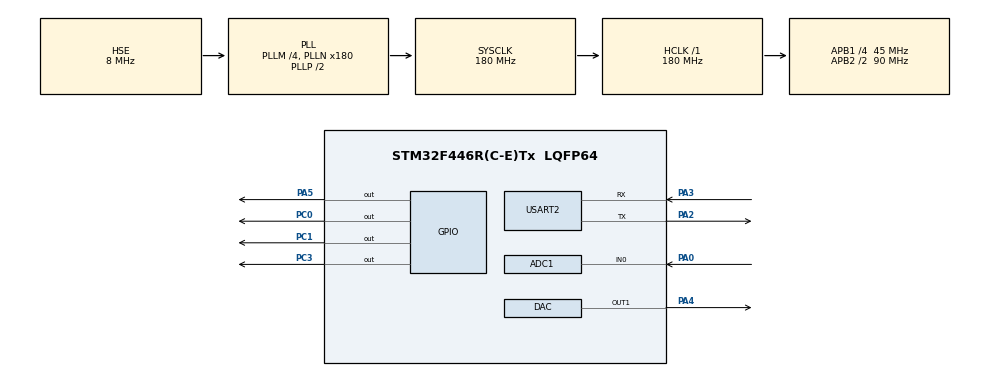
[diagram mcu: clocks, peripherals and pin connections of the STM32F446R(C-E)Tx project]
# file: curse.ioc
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ADC1.Channel-0\#ChannelRegularConversion=ADC_CHANNEL_0
ADC1.DMAContinuousRequests=ENABLE
ADC1.NbrOfConversionFlag=1
ADC1.Rank-0\#ChannelRegularConversion=1
ADC1.SamplingTime-0\#ChannelRegularConversion=ADC_SAMPLETIME_3CYCLES
ADC1.master=1
DAC.DAC_Trigger=DAC_TRIGGER_T2_TRGO
Dma.ADC1.1.Direction=DMA_PERIPH_TO_MEMORY
Dma.ADC1.1.FIFOMode=DMA_FIFOMODE_DISABLE
Dma.ADC1.1.Instance=DMA2_Stream0
Dma.ADC1.1.MemDataAlignment=DMA_MDATAALIGN_HALFWORD
Dma.ADC1.1.MemInc=DMA_MINC_ENABLE
Dma.ADC1.1.Mode=DMA_CIRCULAR
Dma.ADC1.1.PeriphDataAlignment=DMA_PDATAALIGN_HALFWORD
Dma.ADC1.1.PeriphInc=DMA_PINC_DISABLE
Dma.ADC1.1.Priority=DMA_PRIORITY_HIGH
Dma.DAC1.0.Direction=DMA_MEMORY_TO_PERIPH
Dma.DAC1.0.FIFOMode=DMA_FIFOMODE_DISABLE
Dma.DAC1.0.Instance=DMA1_Stream5
Dma.DAC1.0.MemDataAlignment=DMA_MDATAALIGN_WORD
Dma.DAC1.0.MemInc=DMA_MINC_ENABLE
Dma.DAC1.0.Mode=DMA_CIRCULAR
Dma.DAC1.0.PeriphDataAlignment=DMA_PDATAALIGN_WORD
Dma.DAC1.0.PeriphInc=DMA_PINC_DISABLE
Dma.DAC1.0.Priority=DMA_PRIORITY_HIGH
Dma.Request0=DAC1
Dma.Request1=ADC1
Dma.Request2=USART2_TX
Dma.USART2_TX.2.Direction=DMA_MEMORY_TO_PERIPH
Dma.USART2_TX.2.FIFOMode=DMA_FIFOMODE_DISABLE
Dma.USART2_TX.2.Instance=DMA1_Stream6
Dma.USART2_TX.2.MemDataAlignment=DMA_MDATAALIGN_BYTE
Dma.USART2_TX.2.MemInc=DMA_MINC_ENABLE
Dma.USART2_TX.2.Mode=DMA_NORMAL
Dma.USART2_TX.2.PeriphDataAlignment=DMA_PDATAALIGN_BYTE
Dma.USART2_TX.2.PeriphInc=DMA_PINC_DISABLE
Dma.USART2_TX.2.Priority=DMA_PRIORITY_LOW
Mcu.Family=STM32F4
Mcu.Name=STM32F446R(C-E)Tx
Mcu.Package=LQFP64
NVIC.ADC_IRQn=true\:1\:0\:true\:false\:true\:true\:true\:true
NVIC.DMA1_Stream5_IRQn=true\:0\:0\:false\:false\:true\:false\:true\:true
NVIC.DMA1_Stream6_IRQn=true\:0\:0\:false\:false\:true\:false\:true\:true
NVIC.DMA2_Stream0_IRQn=true\:0\:0\:false\:false\:true\:false\:true\:true
NVIC.PriorityGroup=NVIC_PRIORITYGROUP_4
NVIC.USART2_IRQn=true\:3\:0\:true\:false\:true\:true\:true\:true
PA0-WKUP.Signal=ADCx_IN0
PA2.Mode=Asynchronous
PA2.Signal=USART2_TX
PA3.Mode=Asynchronous
PA3.Signal=USART2_RX
PA4.Signal=COMP_DAC1_group
PA5.GPIO_Speed=GPIO_SPEED_FREQ_HIGH
PA5.PinState=GPIO_PIN_SET
PA5.Signal=GPIO_Output
PC0.GPIO_Speed=GPIO_SPEED_FREQ_VERY_HIGH
PC0.Signal=GPIO_Output
PC1.GPIO_Speed=GPIO_SPEED_FREQ_VERY_HIGH
PC1.Signal=GPIO_Output
PC3.GPIO_Speed=GPIO_SPEED_FREQ_VERY_HIGH
PC3.Signal=GPIO_Output
PH0-OSC_IN.Mode=HSE-External-Oscillator
PH0-OSC_IN.Signal=RCC_OSC_IN
PH1-OSC_OUT.Mode=HSE-External-Oscillator
PH1-OSC_OUT.Signal=RCC_OSC_OUT
ProjectManager.HeapSize=0x200
ProjectManager.StackSize=0x400
ProjectManager.TargetToolchain=STM32CubeIDE
RCC.AHBFreq_Value=180000000
RCC.APB1CLKDivider=RCC_HCLK_DIV4
RCC.APB1Freq_Value=45000000
RCC.APB1TimFreq_Value=90000000
RCC.APB2CLKDivider=RCC_HCLK_DIV2
RCC.APB2Freq_Value=90000000
RCC.APB2TimFreq_Value=180000000
RCC.CortexFreq_Value=180000000
RCC.HCLKFreq_Value=180000000
RCC.HSE_VALUE=8000000
RCC.PLLM=4
RCC.PLLN=180
RCC.PLLSourceVirtual=RCC_PLLSOURCE_HSE
RCC.SYSCLKFreq_VALUE=180000000
RCC.SYSCLKSource=RCC_SYSCLKSOURCE_PLLCLK
RCC.USBFreq_Value=180000000
RCC.VCOOutputFreq_Value=360000000
SH.ADCx_IN0.0=ADC1_IN0,IN0
SH.COMP_DAC1_group.0=DAC_OUT1,DAC_OUT1
TIM2.Period=561
TIM2.TIM_MasterOutputTrigger=TIM_TRGO_UPDATE
TIM3.Period=561
TIM3.TIM_MasterOutputTrigger=TIM_TRGO_UPDATE
USART2.VirtualMode=VM_ASYNC
VP_TIM2_VS_ClockSourceINT.Mode=Internal
VP_TIM3_VS_ClockSourceINT.Mode=Internal
board=custom

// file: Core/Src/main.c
/* USER CODE BEGIN Header */
/**
  ******************************************************************************
  * @file           : main.c
  * @brief          : Main program body
  ******************************************************************************
  * @attention
  *
  * Copyright (c) 2025 STMicroelectronics.
  * All rights reserved.
  *
  * This software is licensed under terms that can be found in the LICENSE file
  * in the root directory of this software component.
  * If no LICENSE file comes with this software, it is provided AS-IS.
  *
  ******************************************************************************
  */
/* USER CODE END Header */
#include "main.h"
#include "stm32f4xx_hal.h"

ADC_HandleTypeDef hadc1;
DMA_HandleTypeDef hdma_adc1;

DAC_HandleTypeDef hdac;
DMA_HandleTypeDef hdma_dac1;

TIM_HandleTypeDef htim2;
TIM_HandleTypeDef htim3;

UART_HandleTypeDef huart2;
DMA_HandleTypeDef hdma_usart2_tx;

/* USER CODE BEGIN PV */
#define MasSize 416
#define ADCIn MasSize + 200

const uint32_t Bark[MasSize] = {
    1736, 2075, 2400, 2700, 2964, 3179, 3340, 3439, 3472, 3439, 3340, 3179, 2964, 2700, 2400, 2075,
    1736, 1397, 1072, 772, 508, 293, 132, 33, 0, 33, 132, 293, 508, 772, 1072, 1397,
    1736, 2075, 2400, 2700, 2964, 3179, 3340, 3439, 3472, 3439, 3340, 3179, 2964, 2700, 2400, 2075,
    1736, 1397, 1072, 772, 508, 293, 132, 33, 0, 33, 132, 293, 508, 772, 1072, 1397,
    1736, 2075, 2400, 2700, 2964, 3179, 3340, 3439, 3472, 3439, 3340, 3179, 2964, 2700, 2400, 2075,
    1736, 1397, 1072, 772, 508, 293, 132, 33, 0, 33, 132, 293, 508, 772, 1072, 1397,
    1736, 2075, 2400, 2700, 2964, 3179, 3340, 3439, 3472, 3439, 3340, 3179, 2964, 2700, 2400, 2075,
    1736, 1397, 1072, 772, 508, 293, 132, 33, 0, 33, 132, 293, 508, 772, 1072, 1397,
    1736, 1397, 1072, 772, 508, 293, 132, 33, 0, 33, 132, 293, 508, 772, 1072, 1397,
    1736, 2075, 2400, 2700, 2964, 3179, 3340, 3439, 3472, 3439, 3340, 3179, 2964, 2700, 2400, 2075,
    1736, 1397, 1072, 772, 508, 293, 132, 33, 0, 33, 132, 293, 508, 772, 1072, 1397,
    1736, 2075, 2400, 2700, 2964, 3179, 3340, 3439, 3472, 3439, 3340, 3179, 2964, 2700, 2400, 2075,
    1736, 2075, 2400, 2700, 2964, 3179, 3340, 3439, 3472, 3439, 3340, 3179, 2964, 2700, 2400, 2075,
    1736, 1397, 1072, 772, 508, 293, 132, 33, 0, 33, 132, 293, 508, 772, 1072, 1397,
    1736, 2075, 2400, 2700, 2964, 3179, 3340, 3439, 3472, 3439, 3340, 3179, 2964, 2700, 2400, 2075,
    1736, 1397, 1072, 772, 508, 293, 132, 33, 0, 33, 132, 293, 508, 772, 1072, 1397,
    1736, 2075, 2400, 2700, 2964, 3179, 3340, 3439, 3472, 3439, 3340, 3179, 2964, 2700, 2400, 2075,
    1736, 1397, 1072, 772, 508, 293, 132, 33, 0, 33, 132, 293, 508, 772, 1072, 1397,
    1736, 2075, 2400, 2700, 2964, 3179, 3340, 3439, 3472, 3439, 3340, 3179, 2964, 2700, 2400, 2075,
    1736, 1397, 1072, 772, 508, 293, 132, 33, 0, 33, 132, 293, 508, 772, 1072, 1397,
    1736, 2075, 2400, 2700, 2964, 3179, 3340, 3439, 3472, 3439, 3340, 3179, 2964, 2700, 2400, 2075,
    1736, 1397, 1072, 772, 508, 293, 132, 33, 0, 33, 132, 293, 508, 772, 1072, 1397,
    1736, 2075, 2400, 2700, 2964, 3179, 3340, 3439, 3472, 3439, 3340, 3179, 2964, 2700, 2400, 2075,
    1736, 1397, 1072, 772, 508, 293, 132, 33, 0, 33, 132, 293, 508, 772, 1072, 1397,
    1736, 2075, 2400, 2700, 2964, 3179, 3340, 3439, 3472, 3439, 3340, 3179, 2964, 2700, 2400, 2075,
    1736, 1397, 1072, 772, 508, 293, 132, 33, 0, 33, 132, 293, 508, 772, 1072, 1397
};
int32_t buff[ADCIn];
uint16_t num = 0;
volatile int32_t corr = 0;
volatile uint16_t distance = 0;
uint8_t speakerNum = 1;
unsigned char a, buf[3];
unsigned char micdebug[4];
volatile int32_t debug1 = 0;
/* USER CODE END PV */

void SystemClock_Config(void);
static void MX_GPIO_Init(void);
static void MX_DMA_Init(void);
static void MX_ADC1_Init(void);
static void MX_DAC_Init(void);
static void MX_TIM2_Init(void);
static void MX_TIM3_Init(void);
static void MX_USART2_UART_Init(void);
void autocorr(int32_t *mas1, const uint32_t *mas2);
int32_t calculateAverage(int32_t *mas1, int32_t length);
void switchSpeaker(void);
void processMeasurement(void);

int main(void)
{

  /* MCU Configuration--------------------------------------------------------*/

  /* Reset of all peripherals, Initializes the Flash interface and the Systick. */
  HAL_Init();

  /* Configure the system clock */
  SystemClock_Config();

  /* Initialize all configured peripherals */
  MX_GPIO_Init();
  MX_DMA_Init();
  MX_ADC1_Init();
  MX_DAC_Init();
  MX_TIM2_Init();
  MX_TIM3_Init();
  MX_USART2_UART_Init();
  /* USER CODE BEGIN 2 */
  // Включаем первый динамик
  HAL_GPIO_WritePin(GPIOC, GPIO_PIN_1, GPIO_PIN_SET);
  HAL_GPIO_WritePin(GPIOC, GPIO_PIN_2, GPIO_PIN_RESET);
  HAL_GPIO_WritePin(GPIOC, GPIO_PIN_3, GPIO_PIN_RESET);
  HAL_Delay(1000);

  // Запускаем передачу сигнала
  HAL_TIM_Base_Start(&htim2);
  HAL_DAC_Start_DMA(&hdac, DAC_CHANNEL_1, (uint32_t*)Bark, MasSize, DAC_ALIGN_12B_R);

  // Запускаем прием данных с прерываниями
  HAL_ADC_Start_IT(&hadc1);

  // Тестовое сообщение
  HAL_UART_Transmit(&huart2, (uint8_t*)"System Started\n", 15, 100);
  /* Infinite loop */
  /* USER CODE BEGIN WHILE */
  while (1)
  {
      // debug1 = 0;
      if(num == ADCIn)
      {
          // Вычисление постоянной составляющей и взаимной корреляции
          int32_t mean = calculateAverage(buff, ADCIn);
          for(uint16_t c = 0; c < ADCIn; c++)
          {
              buff[c] = buff[c] - mean;
          }
          autocorr(buff, Bark);

          // Конец сегмента
          num = 0;

          // Пересылка расстояния по UART
          for(a = 0; a < 3; a++)
              buf[a] = '0';

          uint16_t temp_distance = distance;
          while(temp_distance >= 100)
          {
              buf[0]++;
              temp_distance = temp_distance - 100;
          }
          while(temp_distance >= 10)
          {
              buf[1]++;
              temp_distance = temp_distance - 10;
          }
          buf[2] += temp_distance;

          if (speakerNum == 0)
          {
              HAL_UART_Transmit(&huart2, (uint8_t*)"s\n", 2, 1000);
          }
          HAL_UART_Transmit(&huart2, (uint8_t*)buf, 3, 1000);
          HAL_UART_Transmit(&huart2, (uint8_t*)"\n", 1, 1000);
          HAL_Delay(30);

          // Переключаем светодиод для индикации следующего замера
          HAL_GPIO_TogglePin(GPIOA, GPIO_PIN_5);

          // Выбираем следующий динамик
          speakerNum++;
          if (speakerNum > 2)
          {
              speakerNum = 0;
          }

          // Включаем необходимый динамик
          switch(speakerNum)
          {
              case 0:
                  HAL_GPIO_WritePin(GPIOC, GPIO_PIN_1, GPIO_PIN_SET);
                  break;
              case 1:
                  HAL_GPIO_WritePin(GPIOC, GPIO_PIN_2, GPIO_PIN_SET);
                  break;
              case 2:
                  HAL_GPIO_WritePin(GPIOC, GPIO_PIN_3, GPIO_PIN_SET);
                  break;
              default:
                  break;
          }

          // Повторно запускаем DMA и ADC
          HAL_DAC_Start_DMA(&hdac, DAC_CHANNEL_1, (uint32_t*)Bark, MasSize, DAC_ALIGN_12B_R);
          HAL_ADC_Start_IT(&hadc1);
      }
    /* USER CODE END WHILE */

    /* USER CODE BEGIN 3 */
      // Можно добавить небольшую паузу для снижения нагрузки
      HAL_Delay(1);
  /* USER CODE END 3 */
}

void SystemClock_Config(void)
{
  RCC_OscInitTypeDef RCC_OscInitStruct = {0};
  RCC_ClkInitTypeDef RCC_ClkInitStruct = {0};

  /** Configure the main internal regulator output voltage
  */
  __HAL_RCC_PWR_CLK_ENABLE();
  __HAL_PWR_VOLTAGESCALING_CONFIG(PWR_REGULATOR_VOLTAGE_SCALE1);

  /** Initializes the RCC Oscillators according to the specified parameters
  * in the RCC_OscInitTypeDef structure.
  */
  RCC_OscInitStruct.OscillatorType = RCC_OSCILLATORTYPE_HSE;
  RCC_OscInitStruct.HSEState = RCC_HSE_ON;
  RCC_OscInitStruct.PLL.PLLState = RCC_PLL_ON;
  RCC_OscInitStruct.PLL.PLLSource = RCC_PLLSOURCE_HSE;
  RCC_OscInitStruct.PLL.PLLM = 4;
  RCC_OscInitStruct.PLL.PLLN = 180;
  RCC_OscInitStruct.PLL.PLLP = RCC_PLLP_DIV2;
  RCC_OscInitStruct.PLL.PLLQ = 2;
  RCC_OscInitStruct.PLL.PLLR = 2;
  if (HAL_RCC_OscConfig(&RCC_OscInitStruct) != HAL_OK)
  {
    Error_Handler();
  }

  /** Activate the Over-Drive mode
  */
  if (HAL_PWREx_EnableOverDrive() != HAL_OK)
  {
    Error_Handler();
  }

  /** Initializes the CPU, AHB and APB buses clocks
  */
  RCC_ClkInitStruct.ClockType = RCC_CLOCKTYPE_HCLK|RCC_CLOCKTYPE_SYSCLK
                              |RCC_CLOCKTYPE_PCLK1|RCC_CLOCKTYPE_PCLK2;
  RCC_ClkInitStruct.SYSCLKSource = RCC_SYSCLKSOURCE_PLLCLK;
  RCC_ClkInitStruct.AHBCLKDivider = RCC_SYSCLK_DIV1;
  RCC_ClkInitStruct.APB1CLKDivider = RCC_HCLK_DIV4;
  RCC_ClkInitStruct.APB2CLKDivider = RCC_HCLK_DIV2;

  if (HAL_RCC_ClockConfig(&RCC_ClkInitStruct, FLASH_LATENCY_5) != HAL_OK)
  {
    Error_Handler();
  }
}

static void MX_ADC1_Init(void)
{

  ADC_ChannelConfTypeDef sConfig = {0};

  /** Configure the global features of the ADC (Clock, Resolution, Data Alignment and number of conversion)
  */
  hadc1.Instance = ADC1;
  hadc1.Init.ClockPrescaler = ADC_CLOCK_SYNC_PCLK_DIV4;
  hadc1.Init.Resolution = ADC_RESOLUTION_12B;
  hadc1.Init.ScanConvMode = DISABLE;
  hadc1.Init.ContinuousConvMode = DISABLE;
  hadc1.Init.DiscontinuousConvMode = DISABLE;
  hadc1.Init.ExternalTrigConvEdge = ADC_EXTERNALTRIGCONVEDGE_NONE;
  hadc1.Init.ExternalTrigConv = ADC_SOFTWARE_START;
  hadc1.Init.DataAlign = ADC_DATAALIGN_RIGHT;
  hadc1.Init.NbrOfConversion = 1;
  hadc1.Init.DMAContinuousRequests = ENABLE;
  hadc1.Init.EOCSelection = ADC_EOC_SINGLE_CONV;
  if (HAL_ADC_Init(&hadc1) != HAL_OK)
  {
    Error_Handler();
  }

  /** Configure for the selected ADC regular channel its corresponding rank in the sequencer and its sample time.
  */
  sConfig.Channel = ADC_CHANNEL_0;
  sConfig.Rank = 1;
  sConfig.SamplingTime = ADC_SAMPLETIME_3CYCLES;
  if (HAL_ADC_ConfigChannel(&hadc1, &sConfig) != HAL_OK)
  {
    Error_Handler();
  }

}

static void MX_DAC_Init(void)
{

  DAC_ChannelConfTypeDef sConfig = {0};

  /** DAC Initialization
  */
  hdac.Instance = DAC;
  if (HAL_DAC_Init(&hdac) != HAL_OK)
  {
    Error_Handler();
  }

  /** DAC channel OUT1 config
  */
  sConfig.DAC_Trigger = DAC_TRIGGER_T2_TRGO;
  sConfig.DAC_OutputBuffer = DAC_OUTPUTBUFFER_ENABLE;
  if (HAL_DAC_ConfigChannel(&hdac, &sConfig, DAC_CHANNEL_1) != HAL_OK)
  {
    Error_Handler();
  }

}

static void MX_TIM2_Init(void)
{

  TIM_ClockConfigTypeDef sClockSourceConfig = {0};
  TIM_MasterConfigTypeDef sMasterConfig = {0};

  htim2.Instance = TIM2;
  htim2.Init.Prescaler = 0;
  htim2.Init.CounterMode = TIM_COUNTERMODE_UP;
  htim2.Init.Period = 561;
  htim2.Init.ClockDivision = TIM_CLOCKDIVISION_DIV1;
  htim2.Init.AutoReloadPreload = TIM_AUTORELOAD_PRELOAD_DISABLE;
  if (HAL_TIM_Base_Init(&htim2) != HAL_OK)
  {
    Error_Handler();
  }
  sClockSourceConfig.ClockSource = TIM_CLOCKSOURCE_INTERNAL;
  if (HAL_TIM_ConfigClockSource(&htim2, &sClockSourceConfig) != HAL_OK)
  {
    Error_Handler();
  }
  sMasterConfig.MasterOutputTrigger = TIM_TRGO_UPDATE;
  sMasterConfig.MasterSlaveMode = TIM_MASTERSLAVEMODE_DISABLE;
  if (HAL_TIMEx_MasterConfigSynchronization(&htim2, &sMasterConfig) != HAL_OK)
  {
    Error_Handler();
  }

}

static void MX_TIM3_Init(void)
{

  TIM_ClockConfigTypeDef sClockSourceConfig = {0};
  TIM_MasterConfigTypeDef sMasterConfig = {0};

  htim3.Instance = TIM3;
  htim3.Init.Prescaler = 0;
  htim3.Init.CounterMode = TIM_COUNTERMODE_UP;
  htim3.Init.Period = 561;
  htim3.Init.ClockDivision = TIM_CLOCKDIVISION_DIV1;
  htim3.Init.AutoReloadPreload = TIM_AUTORELOAD_PRELOAD_DISABLE;
  if (HAL_TIM_Base_Init(&htim3) != HAL_OK)
  {
    Error_Handler();
  }
  sClockSourceConfig.ClockSource = TIM_CLOCKSOURCE_INTERNAL;
  if (HAL_TIM_ConfigClockSource(&htim3, &sClockSourceConfig) != HAL_OK)
  {
    Error_Handler();
  }
  sMasterConfig.MasterOutputTrigger = TIM_TRGO_UPDATE;
  sMasterConfig.MasterSlaveMode = TIM_MASTERSLAVEMODE_DISABLE;
  if (HAL_TIMEx_MasterConfigSynchronization(&htim3, &sMasterConfig) != HAL_OK)
  {
    Error_Handler();
  }

}

static void MX_USART2_UART_Init(void)
{

  huart2.Instance = USART2;
  huart2.Init.BaudRate = 115200;
  huart2.Init.WordLength = UART_WORDLENGTH_8B;
  huart2.Init.StopBits = UART_STOPBITS_1;
  huart2.Init.Parity = UART_PARITY_NONE;
  huart2.Init.Mode = UART_MODE_TX_RX;
  huart2.Init.HwFlowCtl = UART_HWCONTROL_NONE;
  huart2.Init.OverSampling = UART_OVERSAMPLING_16;
  if (HAL_UART_Init(&huart2) != HAL_OK)
  {
    Error_Handler();
  }

}

static void MX_DMA_Init(void)
{

  /* DMA controller clock enable */
  __HAL_RCC_DMA1_CLK_ENABLE();
  __HAL_RCC_DMA2_CLK_ENABLE();

  /* DMA interrupt init */
  /* DMA1_Stream5_IRQn interrupt configuration */
  HAL_NVIC_SetPriority(DMA1_Stream5_IRQn, 0, 0);
  HAL_NVIC_EnableIRQ(DMA1_Stream5_IRQn);
  /* DMA1_Stream6_IRQn interrupt configuration */
  HAL_NVIC_SetPriority(DMA1_Stream6_IRQn, 0, 0);
  HAL_NVIC_EnableIRQ(DMA1_Stream6_IRQn);
  /* DMA2_Stream0_IRQn interrupt configuration */
  HAL_NVIC_SetPriority(DMA2_Stream0_IRQn, 0, 0);
  HAL_NVIC_EnableIRQ(DMA2_Stream0_IRQn);

}

static void MX_GPIO_Init(void)
{
  GPIO_InitTypeDef GPIO_InitStruct = {0};

  /* GPIO Ports Clock Enable */
  __HAL_RCC_GPIOH_CLK_ENABLE();
  __HAL_RCC_GPIOC_CLK_ENABLE();
  __HAL_RCC_GPIOA_CLK_ENABLE();

  /*Configure GPIO pin Output Level */
  HAL_GPIO_WritePin(GPIOC, GPIO_PIN_0|GPIO_PIN_1|GPIO_PIN_3, GPIO_PIN_RESET);

  /*Configure GPIO pin Output Level */
  HAL_GPIO_WritePin(GPIOA, GPIO_PIN_5, GPIO_PIN_SET);

  /*Configure GPIO pins : PC0 PC1 PC3 */
  GPIO_InitStruct.Pin = GPIO_PIN_0|GPIO_PIN_1|GPIO_PIN_3;
  GPIO_InitStruct.Mode = GPIO_MODE_OUTPUT_PP;
  GPIO_InitStruct.Pull = GPIO_NOPULL;
  GPIO_InitStruct.Speed = GPIO_SPEED_FREQ_VERY_HIGH;
  HAL_GPIO_Init(GPIOC, &GPIO_InitStruct);

  /*Configure GPIO pin : PA5 */
  GPIO_InitStruct.Pin = GPIO_PIN_5;
  GPIO_InitStruct.Mode = GPIO_MODE_OUTPUT_PP;
  GPIO_InitStruct.Pull = GPIO_NOPULL;
  GPIO_InitStruct.Speed = GPIO_SPEED_FREQ_HIGH;
  HAL_GPIO_Init(GPIOA, &GPIO_InitStruct);

}

/* USER CODE BEGIN 4 */
// Функция автокорреляции
void autocorr(int32_t *mas1, const uint32_t *mas2)
{
    volatile int32_t maxcorr = 0;
    volatile int32_t ans = 0;
    volatile int32_t sdvig = 0;

    for(uint16_t t = 0; t < ADCIn; t++)
    {
        volatile int32_t vnutr = 0;
        for(volatile uint16_t i = 0; i < MasSize; i++)
        {
            sdvig = i + t;
            if(sdvig < ADCIn)
            {
                vnutr = vnutr + (mas1[sdvig]) * ((int16_t)mas2[i] - 1736);
            }
        }
        corr = vnutr;
        if(corr > maxcorr)
        {
            maxcorr = corr;
            ans = t;
        }
    }
    distance = (ans * 33) / 16; // Коэффициент может потребовать корректировки
}

// Функция вычисления среднего значения
int32_t calculateAverage(int32_t *mas1, int32_t length)
{
    int64_t sum = 0; // Используем int64_t для избежания переполнения
    for (int i = 0; i < length; i++)
    {
        sum += mas1[i];
    }
    return (int32_t)(sum / length);
}

// Функция переключения динамиков
void switchSpeaker(void)
{
    // Выключаем все динамики
    HAL_GPIO_WritePin(GPIOC, GPIO_PIN_1, GPIO_PIN_RESET);
    HAL_GPIO_WritePin(GPIOC, GPIO_PIN_2, GPIO_PIN_RESET);
    HAL_GPIO_WritePin(GPIOC, GPIO_PIN_3, GPIO_PIN_RESET);

    // Переключаем на следующий динамик
    speakerNum++;
    if (speakerNum > 2)
    {
        speakerNum = 0;
    }

    // Включаем выбранный динамик
    switch(speakerNum)
    {
        case 0:
            HAL_GPIO_WritePin(GPIOC, GPIO_PIN_1, GPIO_PIN_SET);
            break;
        case 1:
            HAL_GPIO_WritePin(GPIOC, GPIO_PIN_2, GPIO_PIN_SET);
            break;
        case 2:
            HAL_GPIO_WritePin(GPIOC, GPIO_PIN_3, GPIO_PIN_SET);
            break;
        default:
            break;
    }

    // Индикация переключения
    HAL_GPIO_TogglePin(GPIOA, GPIO_PIN_5);
}

// Функция обработки измерения
void processMeasurement(void)
{
    // Вычисляем постоянную составляющую
    int32_t mean = calculateAverage(buff, ADCIn);

    // Убираем постоянную составляющую
    for(uint16_t c = 0; c < ADCIn; c++)
    {
        buff[c] = buff[c] - mean;
    }

    // Вычисляем корреляцию
    autocorr(buff, Bark);

    // Отправляем расстояние по UART
    for(a = 0; a < 3; a++)
        buf[a] = '0';

    uint16_t temp_distance = distance;
    while(temp_distance >= 100)
    {
        buf[0]++;
        temp_distance = temp_distance - 100;
    }
    while(temp_distance >= 10)
    {
        buf[1]++;
        temp_distance = temp_distance - 10;
    }
    buf[2] += temp_distance;

    // Отправляем маркер начала для первого динамика
    if (speakerNum == 0)
    {
        HAL_UART_Transmit(&huart2, (uint8_t*)"s\n", 2, 1000);
    }

    HAL_UART_Transmit(&huart2, (uint8_t*)buf, 3, 1000);
    HAL_UART_Transmit(&huart2, (uint8_t*)"\n", 1, 1000);

    // Небольшая пауза перед следующим измерением
    HAL_Delay(30);
}

// Обработчик прерывания ADC (завершение преобразования)
void HAL_ADC_ConvCpltCallback(ADC_HandleTypeDef* hadc)
{
    if(hadc->Instance == ADC1)
    {
        // Заполняем массив значениями с микрофона
        if(num < ADCIn)
        {
            buff[num] = HAL_ADC_GetValue(&hadc1);
            num++;
        }
        else
        {
            // Буфер заполнен - выключаем динамики и останавливаем ADC
            HAL_GPIO_WritePin(GPIOC, GPIO_PIN_1, GPIO_PIN_RESET);
            HAL_GPIO_WritePin(GPIOC, GPIO_PIN_2, GPIO_PIN_RESET);
            HAL_GPIO_WritePin(GPIOC, GPIO_PIN_3, GPIO_PIN_RESET);
            HAL_ADC_Stop_IT(&hadc1);
        }
    }
}

// Обработчик Half Transfer (опционально)
void HAL_ADC_ConvHalfCpltCallback(ADC_HandleTypeDef* hadc)
{
    // Можно использовать для обработки первой половины данных
    // пока заполняется вторая половина
}

// Обработчик прерывания таймера (если будете использовать)
void HAL_TIM_PeriodElapsedCallback(TIM_HandleTypeDef *htim)
{
    if (htim->Instance == TIM1)
    {
        // Код для периодических измерений по таймеру
    }
}

/* USER CODE END 4 */

void Error_Handler(void)
{
  __disable_irq();
  while (1)
  {
  }
}
